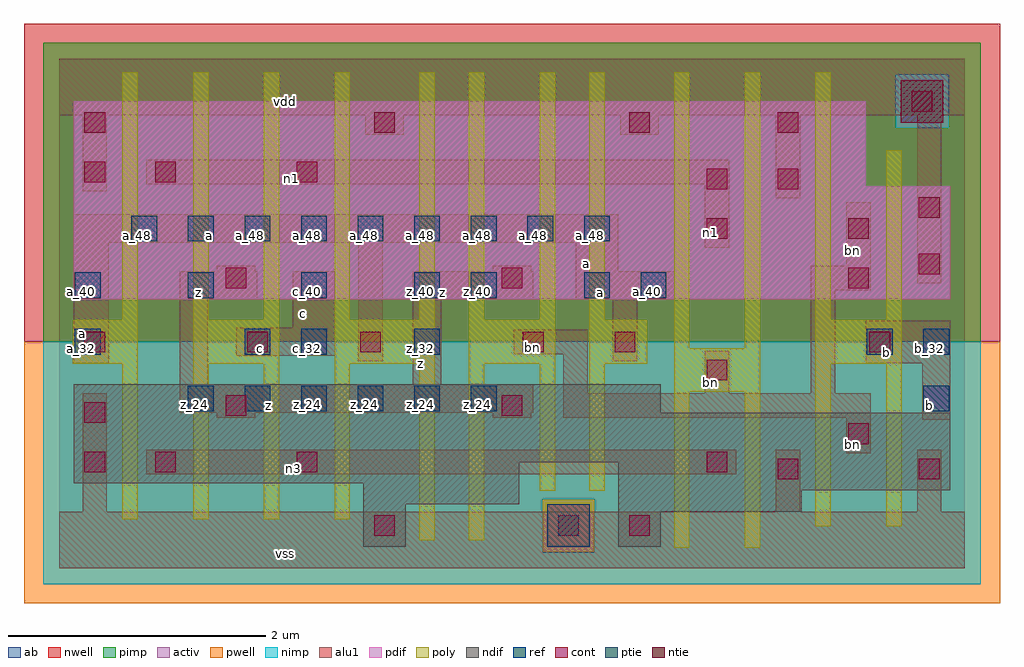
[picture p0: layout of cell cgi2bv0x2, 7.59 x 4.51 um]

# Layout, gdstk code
import gdstk
lib = gdstk.Library(unit=1e-6, precision=2.5e-09)
def R(c, l, rs):  # rectangles x0, y0, x1, y1
    for r in rs: c.add(gdstk.rectangle(r[:2], r[2:], *l))
def A(c, l, x, y, w, h, nx, ny, dx, dy):  # array of equal rectangles
    R(c, l, [(x+i*dx, y+j*dy, x+i*dx+w, y+j*dy+h) for i in range(nx) for j in range(ny)])
ndif = (3, 0)
pdif = (4, 0)
ntie = (5, 0)
ptie = (6, 0)
ref = (24, 0)
cont = (25, 0)
pwell = (41, 0)
nwell = (42, 0)
activ = (43, 0)
pimp = (44, 0)
nimp = (45, 0)
poly = (46, 0)
alu1 = (49, 0)
ab = (63, 0)

cgi2bv0x2 = lib.new_cell('cgi2bv0x2')
R(cgi2bv0x2, ndif, [(2.365,0.165,2.695,0.495), (4.345,0.165,4.675,0.44), (4.345,0.44,5.775,0.605), (2.365,0.495,3.575,0.66), (4.345,0.605,6.93,0.825), (0.11,0.66,3.575,0.825), (0.11,0.825,6.93,1.21), (0.11,1.21,4.675,1.43)])
R(cgi2bv0x2, pdif, [(0.11,2.09,6.93,2.97), (0.11,2.97,6.27,3.63)])
R(cgi2bv0x2, ntie, [(6.545,3.465,6.875,3.795)])
R(cgi2bv0x2, ptie, [(3.795,0.165,4.125,0.495)])
A(cgi2bv0x2, ref, 1, 1.22, 0.2, 0.2, 6, 1, 0.44, 0)
A(cgi2bv0x2, ref, 0.12, 2.1, 0.2, 0.2, 4, 1, 0.88, 0)
A(cgi2bv0x2, ref, 0.56, 2.54, 0.2, 0.2, 9, 1, 0.44, 0)
R(cgi2bv0x2, ref, [(6.72,1.22,6.92,1.42), (0.12,1.66,0.32,1.86), (1.44,1.66,1.64,1.86), (1.88,1.66,2.08,1.86), (2.76,1.66,2.96,1.86), (6.28,1.66,6.48,1.86), (6.72,1.66,6.92,1.86), (3.2,2.1,3.4,2.3), (4.08,2.1,4.28,2.3), (4.52,2.1,4.72,2.3)])
R(cgi2bv0x2, cont, [(2.45,0.25,2.61,0.41), (3.88,0.25,4.04,0.41), (4.43,0.25,4.59,0.41), (5.585,0.69,5.745,0.85), (6.685,0.69,6.845,0.85), (0.195,0.745,0.355,0.905), (0.745,0.745,0.905,0.905), (1.845,0.745,2.005,0.905), (5.035,0.745,5.195,0.905), (6.135,0.965,6.295,1.125), (0.195,1.13,0.355,1.29), (1.295,1.185,1.455,1.345), (3.44,1.185,3.6,1.345), (5.035,1.46,5.195,1.62), (0.195,1.68,0.355,1.84), (1.46,1.68,1.62,1.84), (2.34,1.68,2.5,1.84), (3.605,1.68,3.765,1.84), (4.32,1.68,4.48,1.84), (6.3,1.68,6.46,1.84), (1.295,2.175,1.455,2.335), (3.44,2.175,3.6,2.335), (6.135,2.175,6.295,2.335), (6.685,2.285,6.845,2.445), (5.035,2.56,5.195,2.72), (6.135,2.56,6.295,2.72), (6.685,2.725,6.845,2.885), (5.035,2.945,5.195,3.105), (5.585,2.945,5.745,3.105), (0.195,3,0.355,3.16), (0.745,3,0.905,3.16), (1.845,3,2.005,3.16), (0.195,3.385,0.355,3.545), (2.45,3.385,2.61,3.545), (4.43,3.385,4.59,3.545), (5.585,3.385,5.745,3.545), (6.63,3.55,6.79,3.71)])
R(cgi2bv0x2, pwell, [(-0.275,-0.275,7.315,1.76)])
R(cgi2bv0x2, nwell, [(-0.275,1.76,7.315,4.235)])
R(cgi2bv0x2, activ, [(2.365,0.165,2.695,0.495), (3.795,0.165,4.125,0.495), (4.345,0.165,4.675,0.44), (4.345,0.44,5.775,0.605), (2.365,0.495,3.575,0.66), (4.345,0.605,6.93,0.825), (0.11,0.66,3.575,0.825), (0.11,0.825,6.93,1.21), (0.11,1.21,4.675,1.43), (0.11,2.09,6.93,2.97), (0.11,2.97,6.27,3.63), (6.545,3.465,6.875,3.795)])
R(cgi2bv0x2, pimp, [(3.755,0.125,4.165,0.535), (-0.125,1.76,7.165,3.425), (-0.125,3.425,6.505,3.835), (6.915,3.425,7.165,3.835), (-0.125,3.835,7.165,4.085)])
R(cgi2bv0x2, nimp, [(-0.125,-0.125,7.165,0.125), (-0.125,0.125,3.755,0.535), (4.165,0.125,7.165,0.535), (-0.125,0.535,7.165,1.76), (6.505,3.425,6.915,3.835)])
A(cgi2bv0x2, poly, 0.49, 0.38, 0.12, 1.21, 4, 1, 0.55, 0)
A(cgi2bv0x2, poly, 0.49, 1.93, 0.12, 1.925, 4, 1, 0.55, 0)
R(cgi2bv0x2, poly, [(4.78,0.16,4.9,1.37), (5.33,0.16,5.45,1.37), (2.8,0.215,2.92,1.59), (3.185,0.215,3.305,1.59), (5.88,0.325,6,1.59), (6.43,0.325,6.55,1.59), (3.735,0.6,3.855,1.59), (4.12,0.6,4.24,1.59), (4.78,1.37,5.45,1.71), (0.105,1.59,0.61,1.93), (1.04,1.59,1.71,1.93), (2.14,1.59,2.92,1.93), (3.185,1.59,3.855,1.93), (4.12,1.59,4.57,1.93), (5.88,1.59,6.55,1.93), (4.78,1.71,4.9,3.855), (5.33,1.71,5.45,3.855), (2.8,1.93,2.92,3.855), (3.185,1.93,3.305,3.855), (3.735,1.93,3.855,3.855), (4.12,1.93,4.24,3.855), (5.88,1.93,6,3.855), (6.43,1.93,6.55,3.25)])
R(cgi2bv0x2, alu1, [(0,0,7.04,0.44), (0.18,0.44,0.37,1.36), (5.57,0.44,5.76,0.92), (6.67,0.44,6.86,0.92), (0.675,0.73,5.265,0.92), (6.12,0.895,6.31,1.17), (6.71,1.155,6.93,1.595), (1.225,1.17,1.525,1.21), (3.37,1.17,3.67,1.21), (3.92,1.17,6.31,1.36), (0.935,1.21,3.685,1.43), (3.92,1.36,4.11,1.665), (5.02,1.36,5.21,1.69), (5.845,1.36,6.035,2.16), (0.935,1.43,1.155,2.09), (2.75,1.43,2.97,2.09), (0.11,1.595,0.385,2.53), (6.27,1.595,6.93,1.925), (2.325,1.61,2.515,2.53), (4.305,1.61,4.495,2.09), (1.375,1.65,2.145,1.87), (3.535,1.665,4.11,1.855), (1.815,1.87,2.145,2.31), (0.935,2.09,1.54,2.31), (2.75,2.09,3.685,2.31), (4.015,2.09,4.785,2.31), (5.845,2.16,6.31,2.35), (6.67,2.215,6.86,3.52), (1.225,2.31,1.525,2.35), (3.37,2.31,3.67,2.35), (4.015,2.31,4.345,2.53), (6.12,2.35,6.31,2.845), (5.02,2.49,5.21,2.985), (0.11,2.53,4.345,2.75), (5.57,2.875,5.76,3.52), (0.18,2.93,0.37,3.52), (0.675,2.985,5.21,3.175), (2.38,3.37,2.68,3.52), (4.36,3.37,4.66,3.52), (0,3.52,7.04,3.96)])
R(cgi2bv0x2, ab, [(0,0,7.04,3.96)])
cgi2bv0x2.add(gdstk.Label('vss', (1.76,0.11), layer=49, texttype=0))
cgi2bv0x2.add(gdstk.Label('b', (6.765,1.265), layer=49, texttype=0))
cgi2bv0x2.add(gdstk.Label('bn', (6.1675,0.9625), layer=49, texttype=0))
cgi2bv0x2.add(gdstk.Label('n3', (1.8225,0.7775), layer=49, texttype=0))
cgi2bv0x2.add(gdstk.Label('b', (6.435,1.6775), layer=49, texttype=0))
cgi2bv0x2.add(gdstk.Label('bn', (5.0675,1.4425), layer=49, texttype=0))
cgi2bv0x2.add(gdstk.Label('z', (1.6225,1.265), layer=49, texttype=0))
cgi2bv0x2.add(gdstk.Label('bn', (3.6775,1.7125), layer=49, texttype=0))
cgi2bv0x2.add(gdstk.Label('z', (2.805,1.595), layer=49, texttype=0))
cgi2bv0x2.add(gdstk.Label('a', (4.2075,2.145), layer=49, texttype=0))
cgi2bv0x2.add(gdstk.Label('z', (2.9825,2.145), layer=49, texttype=0))
cgi2bv0x2.add(gdstk.Label('bn', (6.1675,2.4725), layer=49, texttype=0))
cgi2bv0x2.add(gdstk.Label('n1', (5.0675,2.6125), layer=49, texttype=0))
cgi2bv0x2.add(gdstk.Label('a', (4.0975,2.365), layer=49, texttype=0))
cgi2bv0x2.add(gdstk.Label('c', (1.5675,1.705), layer=49, texttype=0))
cgi2bv0x2.add(gdstk.Label('c', (1.8975,1.98), layer=49, texttype=0))
cgi2bv0x2.add(gdstk.Label('z', (1.085,2.145), layer=49, texttype=0))
cgi2bv0x2.add(gdstk.Label('a', (0.1775,1.8275), layer=49, texttype=0))
cgi2bv0x2.add(gdstk.Label('a', (1.1675,2.585), layer=49, texttype=0))
cgi2bv0x2.add(gdstk.Label('n1', (1.8075,3.0325), layer=49, texttype=0))
cgi2bv0x2.add(gdstk.Label('vdd', (1.76,3.63), layer=49, texttype=0))
cgi2bv0x2.add(gdstk.Label('b_32', (6.77,1.71), layer=24, texttype=0))
cgi2bv0x2.add(gdstk.Label('b_24', (6.77,1.27), layer=24, texttype=0))
cgi2bv0x2.add(gdstk.Label('b_32', (6.33,1.71), layer=24, texttype=0))
cgi2bv0x2.add(gdstk.Label('a_48', (0.61,2.59), layer=24, texttype=0))
cgi2bv0x2.add(gdstk.Label('z_24', (1.05,1.27), layer=24, texttype=0))
cgi2bv0x2.add(gdstk.Label('z_40', (1.05,2.15), layer=24, texttype=0))
cgi2bv0x2.add(gdstk.Label('a_48', (1.05,2.59), layer=24, texttype=0))
cgi2bv0x2.add(gdstk.Label('z_24', (1.49,1.27), layer=24, texttype=0))
cgi2bv0x2.add(gdstk.Label('c_32', (1.49,1.71), layer=24, texttype=0))
cgi2bv0x2.add(gdstk.Label('a_48', (1.49,2.59), layer=24, texttype=0))
cgi2bv0x2.add(gdstk.Label('z_24', (1.93,1.27), layer=24, texttype=0))
cgi2bv0x2.add(gdstk.Label('c_32', (1.93,1.71), layer=24, texttype=0))
cgi2bv0x2.add(gdstk.Label('c_40', (1.93,2.15), layer=24, texttype=0))
cgi2bv0x2.add(gdstk.Label('a_48', (1.93,2.59), layer=24, texttype=0))
cgi2bv0x2.add(gdstk.Label('a_32', (0.17,1.71), layer=24, texttype=0))
cgi2bv0x2.add(gdstk.Label('a_40', (0.17,2.15), layer=24, texttype=0))
cgi2bv0x2.add(gdstk.Label('z_24', (2.37,1.27), layer=24, texttype=0))
cgi2bv0x2.add(gdstk.Label('a_48', (2.37,2.59), layer=24, texttype=0))
cgi2bv0x2.add(gdstk.Label('z_24', (2.81,1.27), layer=24, texttype=0))
cgi2bv0x2.add(gdstk.Label('z_32', (2.81,1.71), layer=24, texttype=0))
cgi2bv0x2.add(gdstk.Label('z_40', (2.81,2.15), layer=24, texttype=0))
cgi2bv0x2.add(gdstk.Label('a_48', (2.81,2.59), layer=24, texttype=0))
cgi2bv0x2.add(gdstk.Label('z_24', (3.25,1.27), layer=24, texttype=0))
cgi2bv0x2.add(gdstk.Label('z_40', (3.25,2.15), layer=24, texttype=0))
cgi2bv0x2.add(gdstk.Label('a_48', (3.25,2.59), layer=24, texttype=0))
cgi2bv0x2.add(gdstk.Label('a_48', (3.69,2.59), layer=24, texttype=0))
cgi2bv0x2.add(gdstk.Label('a_40', (4.13,2.15), layer=24, texttype=0))
cgi2bv0x2.add(gdstk.Label('a_48', (4.13,2.59), layer=24, texttype=0))
cgi2bv0x2.add(gdstk.Label('a_40', (4.57,2.15), layer=24, texttype=0))

lib.write_gds('cgi2bv0x2.gds')
